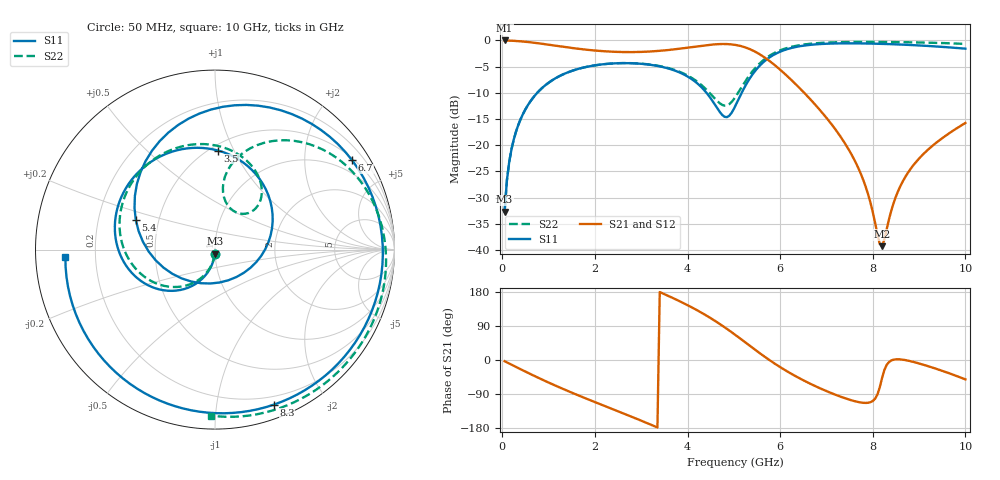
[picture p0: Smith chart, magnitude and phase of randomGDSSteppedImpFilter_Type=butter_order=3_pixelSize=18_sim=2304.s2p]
! freq	dB(S11)	phase(S11)	dB(S12)	phase(S12)
!  dB(S21)	phase(S21)	dB(S22)	phase(S22)
!S-par simulation data
#  GHz  S  DB  R 50
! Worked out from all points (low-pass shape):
!   200 points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, 50 MHz to 10 GHz, reference 50 ohm
!   highest |S21| = -0.01 dB at 50 MHz (marker M1); lowest = -39.3 dB at 8.2 GHz (marker M2)
!   |S21| within 3 dB of the highest: start of sweep to 5.622 GHz
!   lowest |S11| = -32.7 dB at 50 MHz (marker M3), VSWR 1.05, Z = 49.8 - j2.31 ohm
!   |S11| at or under -10 dB: start of sweep to 755.4 MHz; 4.409 GHz to 5.17 GHz (761.4 MHz wide, 15.9 % of centre)
!   |S22| runs from -32.7 to -0.3 dB; largest |S21 - S12| = 0
!   S11 on the Smith chart (normalised r, x): 50 MHz: 1.00, -0.05; 3.5 GHz: 0.55, +0.87; 5.4 GHz: 0.37, +0.16; 6.7 GHz: 0.56, +3.28; 8.3 GHz: 0.12, -1.44; 10 GHz: 0.09, -0.02
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0.05  -32.69 -93.0  -0.01 -3.2  -0.01 -3.2  -32.68 -93.4
0.2  -20.72 -102.2  -0.06 -12.5  -0.06 -12.5  -20.73 -103.5
0.5  -13.15 -119.5  -0.26 -30.7  -0.26 -30.7  -13.15 -122.9
1.1  -7.48 -152.0  -0.94 -65.0  -0.94 -65.0  -7.49 -159.2
1.75  -5.19 176.1  -1.71 -98.8  -1.71 -98.8  -5.19 165.2
2.65  -4.34 133.5  -2.23 -142.7  -2.23 -142.7  -4.32 120.2
3.4  -4.96 94.2  -1.99 179.2  -1.99 179.2  -4.90 84.3
3.5  -5.16 88.3  -1.91 173.8  -1.91 173.8  -5.09 79.6
4.35  -9.40 20.4  -0.97 121.4  -0.97 121.4  -8.91 46.4
4.8  -14.59 -66.4  -0.68 86.5  -0.68 86.5  -12.45 60.8
5.05  -12.19 -139.3  -0.88 64.6  -0.88 64.6  -10.57 80.3
5.4  -6.53 159.4  -1.89 32.4  -1.89 32.4  -5.92 77.8
5.7  -3.70 122.5  -3.48 5.7  -3.48 5.7  -3.35 62.6
6.05  -1.97 86.9  -5.98 -22.5  -5.98 -22.5  -1.73 42.8
6.7  -0.80 33.1  -11.71 -65.6  -11.71 -65.6  -0.60 10.5
7.35  -0.56 -11.6  -18.98 -98.8  -18.98 -98.8  -0.32 -15.3
7.8  -0.58 -39.6  -26.78 -113.0  -26.78 -113.0  -0.28 -30.6
8.2  -0.66 -63.4  -39.29 -47.9  -39.29 -47.9  -0.29 -42.9
8.3  -0.69 -69.2  -36.06 -13.0  -36.06 -13.0  -0.30 -45.9
8.35  -0.70 -72.1  -34.16 -5.4  -34.16 -5.4  -0.30 -47.3
9.15  -1.03 -119.3  -21.21 -14.6  -21.21 -14.6  -0.42 -69.2
10  -1.57 -177.4  -15.76 -51.2  -15.76 -51.2  -0.68 -91.5
